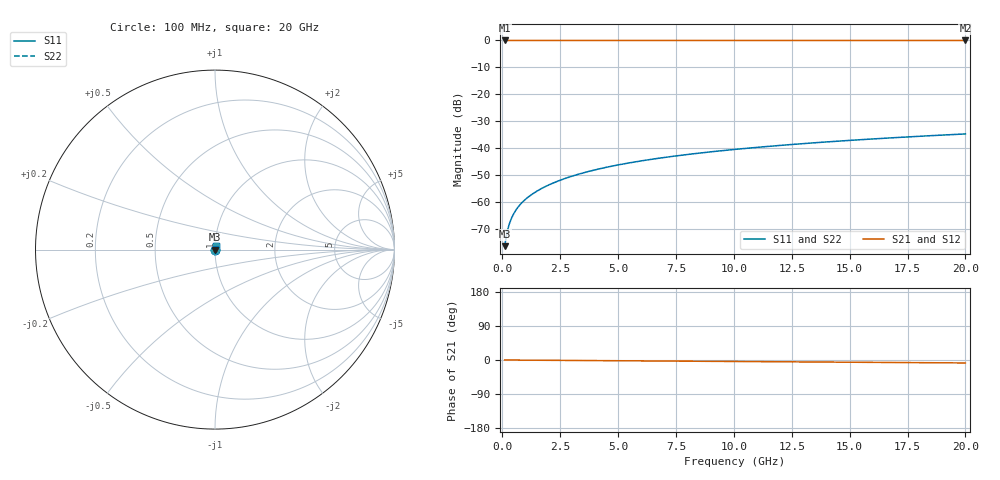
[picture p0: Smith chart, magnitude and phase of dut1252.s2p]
! Touchstone file exported from HFSS 2026.1.0
!  File:  C:/ffzhzh/LocalFiles/Ansys_Project_Files/temp_train_TSV_1252_1783193702_22436.aedt
!  Generated:  03:36:35 AM Jul  5, 2026
!  Design:  TSV
!  Project:  temp_train_TSV_1252_1783193702_22436
! Variables:
!  h_bsmrdl = 2um
!  h_ox = 20um
!  h_rdl = 5um
!  h_sub = 72.94um
!  h_tmrdl = 5um
!  h_tsv = 72.94um
!  h_via = 3um
!  l_bsmrdl = 300um
!  l_sub = 424.88um
!  l_tmrdl = 200um
!  m_sub = 200um
!  pitch = 57.49um
!  r_tsv = 12.44um
!  s_tmrdl = 10um
!  w_bsmrdl = 18um
!  w_sub = 500um
!  w_tmrdl = 12um
!  x_tsv_center1 = 206um
!  x_tsv_center2 = 524um
!  x_tsv_center3 = 736um
!  x_tsv_center4 = 1054um
!  x_tsv_center5 = 1266um
!  x_tsv_center6 = 1584um
# GHz S MA R 50.000000
! Terminal data exported
! Port[1] = TSV1_1_T1
! Port[2] = TSV1_1_T2
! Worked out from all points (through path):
!   200 points, 100 MHz to 20 GHz, reference 50 ohm
!   highest |S21| = 0.00 dB at 100 MHz (marker M1); lowest = 0.0 dB at 20 GHz (marker M2)
!   group delay of S21, straight-line fit = 1.08 ps
!   lowest |S11| = -76.2 dB at 100 MHz (marker M3), VSWR 1.00, Z = 50 + j0.013 ohm
!   |S11| at or under -10 dB: start of sweep to end of sweep
!   |S22| runs from -76.2 to -34.6 dB; largest |S21 - S12| = 3.8e-15
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0.1  0.000155 56.9  0.9999 -0.0  0.9999 -0.0  0.000155 56.9
! Gamma 0 0 0 0
! Port Impedance 50 0 50 0
0.2  0.0002743 69.6  0.9999 -0.1  0.9999 -0.1  0.0002743 69.6
0.3  0.0003958 73.5  0.9999 -0.1  0.9999 -0.1  0.0003958 73.5
0.4  0.0005138 75.1  0.9999 -0.2  0.9999 -0.2  0.0005138 75.1
0.5  0.0006271 75.8  0.9998 -0.2  0.9998 -0.2  0.0006271 75.8
0.6  0.000736 76.3  0.9998 -0.2  0.9998 -0.2  0.000736 76.3
0.7  0.0008411 76.6  0.9998 -0.3  0.9998 -0.3  0.0008411 76.6
0.9  0.001043 77.3  0.9998 -0.4  0.9998 -0.4  0.001043 77.3
1.1  0.001239 77.9  0.9997 -0.4  0.9997 -0.4  0.001239 77.9
1.3  0.001432 78.6  0.9997 -0.5  0.9997 -0.5  0.001432 78.6
1.6  0.00172 79.4  0.9997 -0.6  0.9997 -0.6  0.00172 79.4
1.9  0.002007 80.1  0.9997 -0.8  0.9997 -0.8  0.002007 80.1
2.6  0.002676 81.2  0.9996 -1.0  0.9996 -1.0  0.002676 81.2
3.5  0.003535 81.9  0.9996 -1.4  0.9996 -1.4  0.003535 81.9
4.2  0.004199 82.2  0.9995 -1.6  0.9995 -1.6  0.004199 82.2
5  0.004952 82.3  0.9995 -2.0  0.9995 -2.0  0.004952 82.3
6.8  0.006628 82.3  0.9994 -2.7  0.9994 -2.7  0.006628 82.3
8.3  0.00801 82.2  0.9993 -3.2  0.9993 -3.2  0.00801 82.2
10.1  0.009659 81.9  0.9992 -3.9  0.9992 -3.9  0.009659 81.9
13.4  0.01266 81.1  0.9991 -5.2  0.9991 -5.2  0.01266 81.1
16.7  0.01563 80.2  0.999 -6.5  0.999 -6.5  0.01563 80.2
20  0.01857 79.1  0.9988 -7.8  0.9988 -7.8  0.01857 79.1
